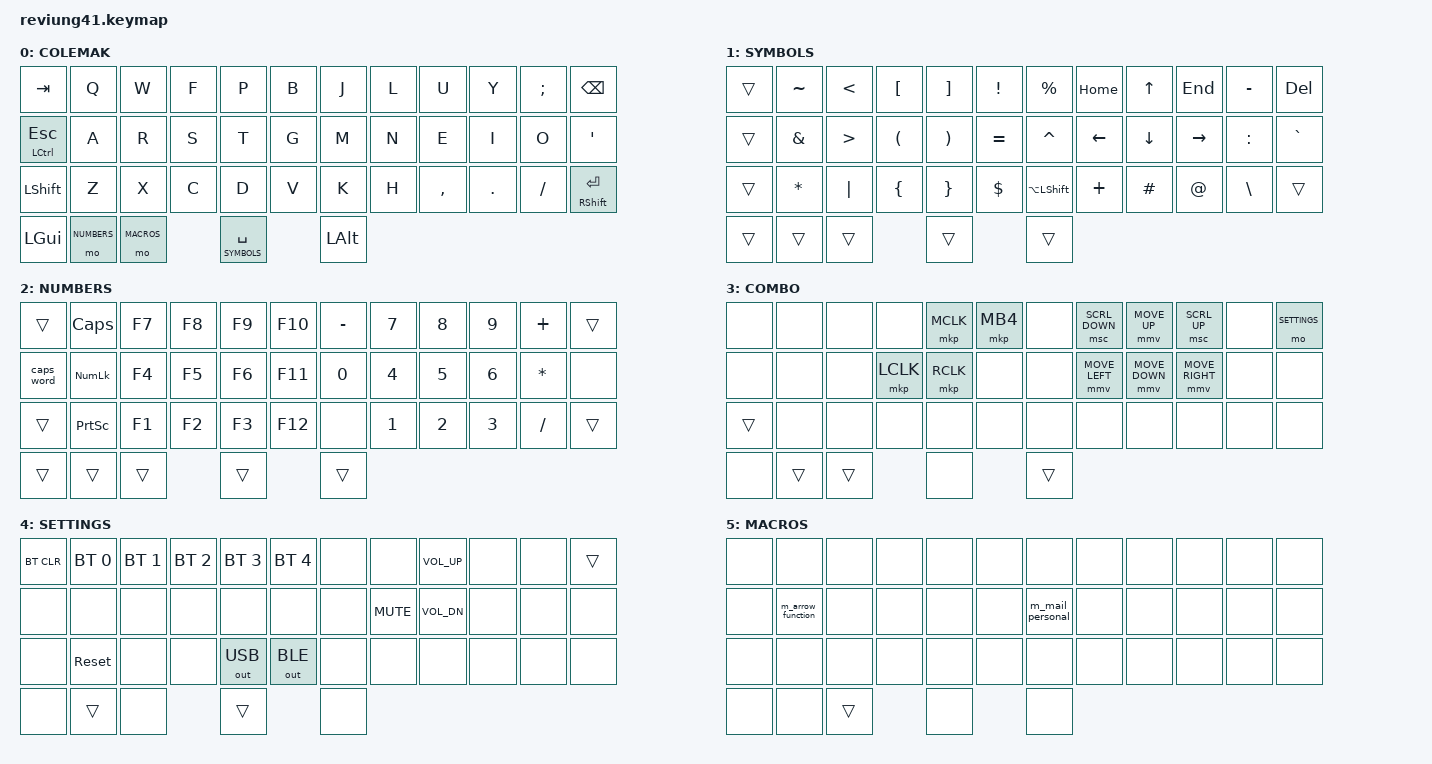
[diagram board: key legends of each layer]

#define ZMK_POINTING_DEFAULT_MOVE_VAL 900
#define ZMK_POINTING_DEFAULT_SCRL_VAL 10

#include <behaviors.dtsi>
#include <dt-bindings/zmk/bt.h>
#include <dt-bindings/zmk/keys.h>
#include <dt-bindings/zmk/outputs.h>
#include <dt-bindings/zmk/pointing.h>

#define COLEMAK 0
#define SYMBOLS 1
#define NUMBERS 2
#define COMBO 3
#define SETTINGS 4
#define MACROS 5

/ {
	behaviors {
		mo_layer_tap: mo_layer_tap {
			compatible = "zmk,behavior-hold-tap";
			label = "SPACE_LAYER_TAP";
			#binding-cells = <2>;
			flavor = "tap-preferred";
			tapping-term-ms = <200>;
			quick-tap-ms = <125>;
			global-quick-tap;
			bindings = <&mo>, <&kp>;
		};
	};

	conditional_layers {
		compatible = "zmk,conditional-layers";

		tri_layer {
			if-layers = <NUMBERS SYMBOLS>;
			then-layer = <COMBO>;
		};
	};

	macros {
		m_mail_personal: m_mail_personal {
			compatible = "zmk,behavior-macro";
			#binding-cells = <0>;
			bindings = <
				&kp M &kp A &kp R &kp T &kp I &kp N
				&kp AT
				&kp G &kp R &kp A &kp V &kp E &kp S &kp T &kp A &kp M
				&kp DOT
				&kp S &kp I &kp T &kp E
			>;
		};

		m_arrow_function: m_arrow_function {
			compatible = "zmk,behavior-macro";
			#binding-cells = <0>;
			bindings = <
				&kp LPAR &kp RPAR  // ()
				&kp SPACE &kp EQUAL &kp GT &kp SPACE // =>
				&kp LBRACE &kp ENTER &kp RBRACE // { }
				&kp LEFT &kp LEFT &kp LEFT &kp LEFT &kp LEFT // Move cursor back into ()
			>;
		};
	};

	keymap {
		compatible = "zmk,keymap";

		COLEMAK {
			bindings = <
				&kp TAB        &kp Q  &kp W  &kp F     &kp P  &kp B       &kp J             &kp L  &kp U                 &kp Y    &kp SEMI  &kp BSPC
				&mt LCTRL ESC  &kp A  &kp R  &kp S     &kp T  &kp G       &kp M             &kp N  &kp E &kp I    &kp O     &kp SQT
				&kp LSHIFT     &kp Z  &kp X  &kp C     &kp D  &kp V       &kp K             &kp H  &kp COMMA             &kp DOT  &kp FSLH  &mt RSHIFT RET
				&kp LGUI  &mo NUMBERS  &mo MACROS    &mo_layer_tap SYMBOLS SPACE   &kp LALT
			>;
		};

		SYMBOLS {
			bindings = <
				&trans  &kp TILDE  &kp LT    &kp LBKT  &kp RBKT  &kp EXCL     &kp PRCNT      &kp HOME  &kp UP    &kp END    &kp MINUS  &kp DEL
				&trans  &kp AMPS   &kp GT    &kp LPAR  &kp RPAR  &kp EQUAL    &kp CARET      &kp LEFT  &kp DOWN  &kp RIGHT  &kp COLON  &kp GRAVE
				&trans  &kp ASTRK  &kp PIPE  &kp LBRC  &kp RBRC  &kp DLLR     &kp LA(LSHFT)  &kp PLUS  &kp HASH  &kp AT     &kp BSLH   &trans
				&trans    &trans    &trans       &trans         &trans
			>;
		};

		NUMBERS {
			bindings = <
				&trans  &kp CAPS    &kp F7  &kp F8  &kp F9  &kp F10    &kp MINUS  &kp N7  &kp N8  &kp N9  &kp PLUS   &trans
				&caps_word  &kp KP_NUM  &kp F4  &kp F5  &kp F6  &kp F11    &kp N0     &kp N4  &kp N5  &kp N6  &kp ASTRK  &none
				&trans  &kp PSCRN   &kp F1  &kp F2  &kp F3  &kp F12    &none      &kp N1  &kp N2  &kp N3  &kp FSLH   &trans
				&trans  &trans  &trans     &trans     &trans
			>;
		};

		COMBO {
			bindings = <
				&none	&none	&none	&none	&mkp MCLK  &mkp MB4  &none    &msc SCRL_DOWN  &mmv MOVE_UP    &msc SCRL_UP     &none  &mo SETTINGS
				&none	&none	&none	&mkp LCLK  &mkp RCLK  &none     &none    &mmv MOVE_LEFT  &mmv MOVE_DOWN  &mmv MOVE_RIGHT  &none  &none
				&trans	&none	&none	&none	&none      &none     &none    &none  &none    &none    &none  &none
				&none      &trans     &trans    &none    &trans
			>;
		};

		SETTINGS {
			bindings = <
				&bt BT_CLR  &bt BT_SEL 0  &bt BT_SEL 1  &bt BT_SEL 2  &bt BT_SEL 3  &bt BT_SEL 4    &none  &none       &kp C_VOL_UP  &none  &none        &trans
				&none       &none         &none         &none         &none         &none           &none  &kp C_MUTE  &kp C_VOL_DN  &none  &none        &none
				&none       &sys_reset    &none         &none         &out OUT_USB  &out OUT_BLE    &none  &none       &none         &none  &none  &none
				&none         &trans        &none          &trans  &none
			>;
		};

		MACROS {
			bindings = <
				&none	&none	&none	&none	&none	&none	&none	&none	&none	&none	&none	&none
				&none	&m_arrow_function	&none	&none	&none	&none	&m_mail_personal	&none	&none	&none	&none	&none
				&none	&none	&none	&none	&none	&none	&none	&none	&none	&none	&none	&none
				&none   &none	&trans	&none	&none
			>;
		};
	};
};
